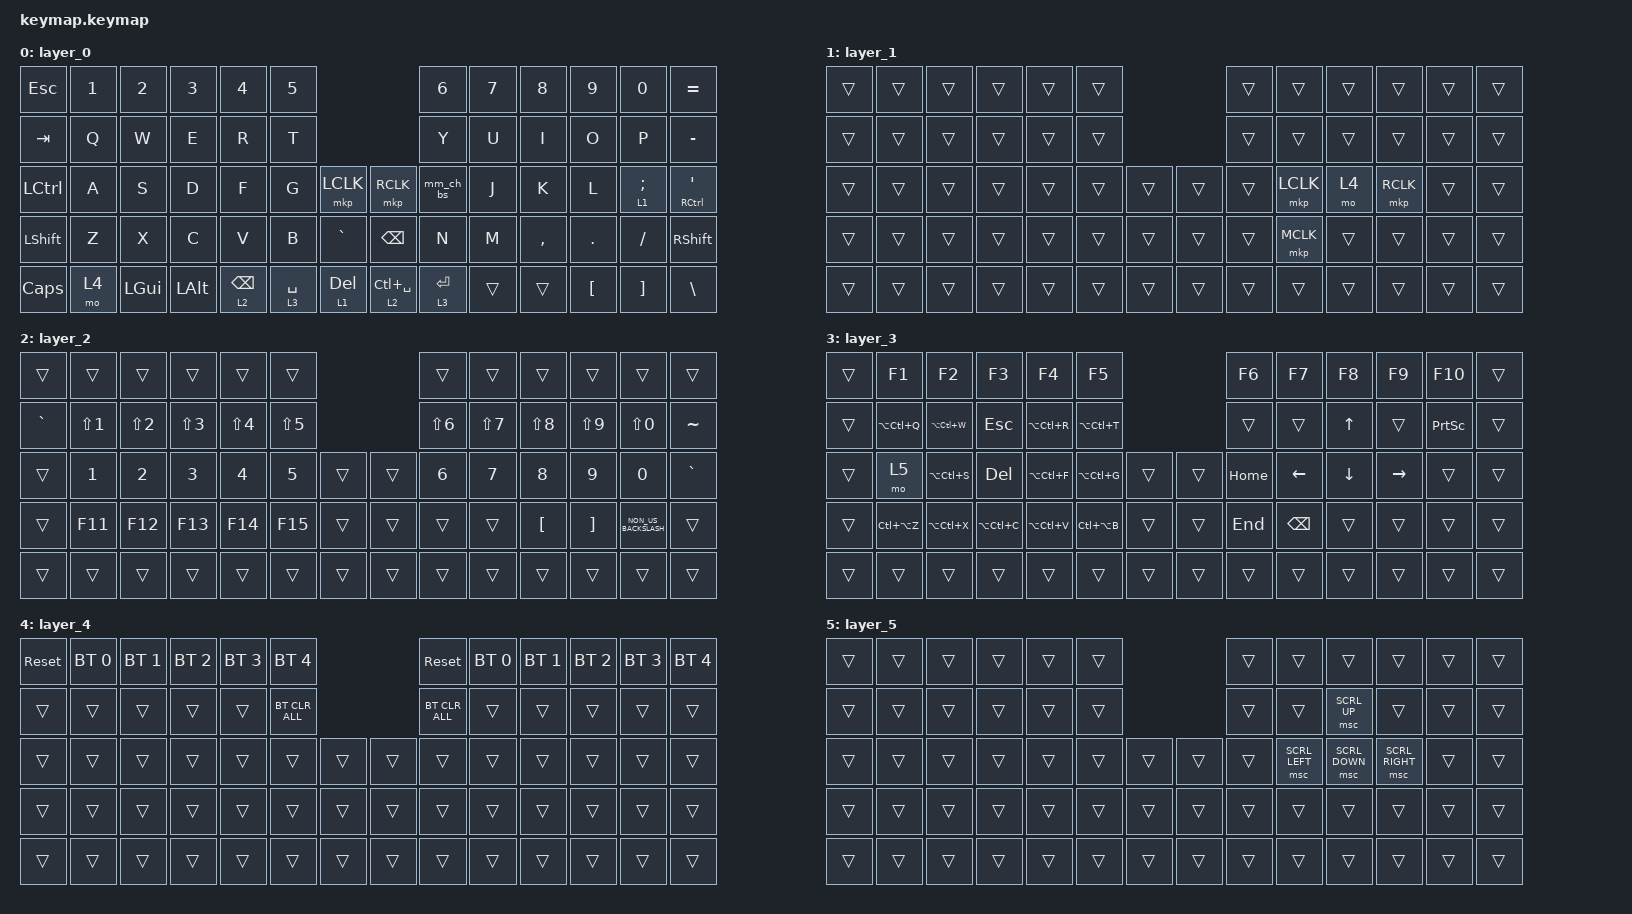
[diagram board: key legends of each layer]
#include <behaviors.dtsi>
#include <dt-bindings/zmk/bt.h>
#include <dt-bindings/zmk/keys.h>
#include <dt-bindings/zmk/pointing.h>

/ {
    combos {
        compatible = "zmk,combos";

        bt_clear {
            bindings = <&bt BT_CLR>;
            key-positions = <28 29>;
            layers = <2>;
        };
    };

    behaviors {
        mm_ch_bs: ctrl_h_to_backspace {
            compatible = "zmk,behavior-mod-morph";
            #binding-cells = <0>;
            bindings = <&kp H>, <&kp BACKSPACE>;

            mods = <(MOD_LCTL)>;
        };

        lt_Alt_Grave: lt_Alt_Grave {
            compatible = "zmk,behavior-hold-tap";
            label = "LAYER_TAP_ALT_GRAVE";
            bindings = <&mo>, <&Alt_Grave>;

            #binding-cells = <2>;
            tapping-term-ms = <200>;
        };
    };

    macros {
        Alt_Grave: Alt_Grave {
            compatible = "zmk,behavior-macro";
            #binding-cells = <0>;
            bindings =
                <&macro_press>,
                <&kp RALT>,
                <&macro_tap>,
                <&kp GRAVE>,
                <&macro_pause_for_release>,
                <&macro_release>,
                <&kp RALT>;

            label = "ALT_GRAVE";
        };
    };

    keymap {
        compatible = "zmk,keymap";

        layer_0 {
            bindings = <
&kp ESC       &kp N1  &kp N2    &kp N3    &kp N4           &kp N5                                   &kp N6       &kp N7  &kp N8     &kp N9            &kp N0             &kp EQUAL
&kp TAB       &kp Q   &kp W     &kp E     &kp R            &kp T                                    &kp Y        &kp U   &kp I      &kp O             &kp P              &kp MINUS
&kp LCTRL     &kp A   &kp S     &kp D     &kp F            &kp G        &mkp LCLK  &mkp RCLK        &mm_ch_bs    &kp J   &kp K      &kp L             &lt 1 SEMICOLON    &mt RCTRL SQT
&kp LSHFT     &kp Z   &kp X     &kp C     &kp V            &kp B        &kp GRAVE  &kp BACKSPACE    &kp N        &kp M   &kp COMMA  &kp DOT           &kp SLASH          &kp RSHFT
&kp CAPSLOCK  &mo 4   &kp LGUI  &kp LALT  &lt 2 BACKSPACE  &lt 3 SPACE  &lt 1 DEL  &lt 2 LC(SPACE)  &lt 3 ENTER  &trans  &trans     &kp LEFT_BRACKET  &kp RIGHT_BRACKET  &kp BACKSLASH
            >;
        };

        layer_1 {
            bindings = <
&trans  &trans  &trans  &trans  &trans  &trans                  &trans  &trans     &trans  &trans     &trans  &trans
&trans  &trans  &trans  &trans  &trans  &trans                  &trans  &trans     &trans  &trans     &trans  &trans
&trans  &trans  &trans  &trans  &trans  &trans  &trans  &trans  &trans  &mkp LCLK  &mo 4   &mkp RCLK  &trans  &trans
&trans  &trans  &trans  &trans  &trans  &trans  &trans  &trans  &trans  &mkp MCLK  &trans  &trans     &trans  &trans
&trans  &trans  &trans  &trans  &trans  &trans  &trans  &trans  &trans  &trans     &trans  &trans     &trans  &trans
            >;
        };

        layer_2 {
            bindings = <
&trans     &trans            &trans            &trans      &trans      &trans                      &trans      &trans      &trans            &trans             &trans                &trans
&kp GRAVE  &kp LS(NUMBER_1)  &kp LS(NUMBER_2)  &kp LS(N3)  &kp LS(N4)  &kp LS(N5)                  &kp LS(N6)  &kp LS(N7)  &kp LS(N8)        &kp LS(N9)         &kp LS(N0)            &kp TILDE
&trans     &kp N1            &kp N2            &kp N3      &kp N4      &kp N5      &trans  &trans  &kp N6      &kp N7      &kp N8            &kp N9             &kp N0                &kp GRAVE
&trans     &kp F11           &kp F12           &kp F13     &kp F14     &kp F15     &trans  &trans  &trans      &trans      &kp LEFT_BRACKET  &kp RIGHT_BRACKET  &kp NON_US_BACKSLASH  &trans
&trans     &trans            &trans            &trans      &trans      &trans      &trans  &trans  &trans      &trans      &trans            &trans             &trans                &trans
            >;
        };

        layer_3 {
            bindings = <
&trans  &kp F1         &kp F2         &kp F3         &kp F4         &kp F5                         &kp F6    &kp F7          &kp F8          &kp F9     &kp F10          &trans
&trans  &kp LA(LC(Q))  &kp LA(LC(W))  &kp ESCAPE     &kp LA(LC(R))  &kp LA(LC(T))                  &trans    &trans          &kp UP_ARROW    &trans     &kp PRINTSCREEN  &trans
&trans  &mo 5          &kp LA(LC(S))  &kp DELETE     &kp LA(LC(F))  &kp LA(LC(G))  &trans  &trans  &kp HOME  &kp LEFT_ARROW  &kp DOWN_ARROW  &kp RIGHT  &trans           &trans
&trans  &kp LC(LA(Z))  &kp LA(LC(X))  &kp LA(LC(C))  &kp LA(LC(V))  &kp LC(LA(B))  &trans  &trans  &kp END   &kp BACKSPACE   &trans          &trans     &trans           &trans
&trans  &trans         &trans         &trans         &trans         &trans         &trans  &trans  &trans    &trans          &trans          &trans     &trans           &trans
            >;
        };

        layer_4 {
            bindings = <
&sys_reset  &bt BT_SEL 0  &bt BT_SEL 1  &bt BT_SEL 2  &bt BT_SEL 3  &bt BT_SEL 4                    &sys_reset      &bt BT_SEL 0  &bt BT_SEL 1  &bt BT_SEL 2  &bt BT_SEL 3  &bt BT_SEL 4
&trans      &trans        &trans        &trans        &trans        &bt BT_CLR_ALL                  &bt BT_CLR_ALL  &trans        &trans        &trans        &trans        &trans
&trans      &trans        &trans        &trans        &trans        &trans          &trans  &trans  &trans          &trans        &trans        &trans        &trans        &trans
&trans      &trans        &trans        &trans        &trans        &trans          &trans  &trans  &trans          &trans        &trans        &trans        &trans        &trans
&trans      &trans        &trans        &trans        &trans        &trans          &trans  &trans  &trans          &trans        &trans        &trans        &trans        &trans
            >;
        };

        layer_5 {
            bindings = <
&trans  &trans  &trans  &trans  &trans  &trans                  &trans  &trans          &trans          &trans           &trans  &trans
&trans  &trans  &trans  &trans  &trans  &trans                  &trans  &trans          &msc SCRL_UP    &trans           &trans  &trans
&trans  &trans  &trans  &trans  &trans  &trans  &trans  &trans  &trans  &msc SCRL_LEFT  &msc SCRL_DOWN  &msc SCRL_RIGHT  &trans  &trans
&trans  &trans  &trans  &trans  &trans  &trans  &trans  &trans  &trans  &trans          &trans          &trans           &trans  &trans
&trans  &trans  &trans  &trans  &trans  &trans  &trans  &trans  &trans  &trans          &trans          &trans           &trans  &trans
            >;
        };
    };
};
